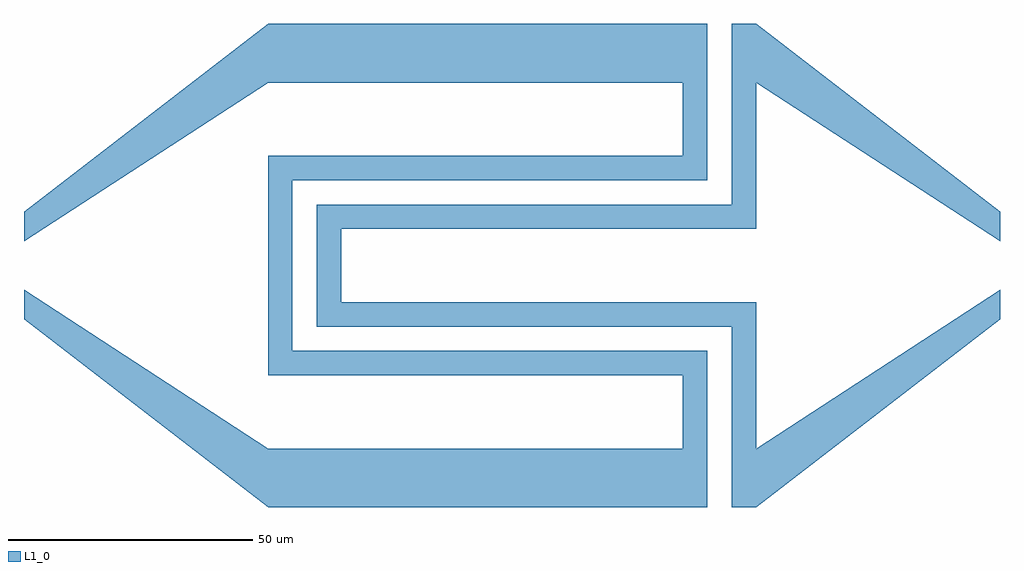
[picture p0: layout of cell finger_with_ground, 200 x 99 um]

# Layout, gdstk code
import gdstk
lib = gdstk.Library(unit=1e-6, precision=1e-09)
def P(c, l, *ps):  # polygons
    for p in ps: c.add(gdstk.Polygon(p, *l))
L1_0 = (1, 0)

finger_with_ground = lib.new_cell('finger_with_ground')
P(finger_with_ground, L1_0, [(0,5),(0,11),(50,49.5),(50,37.5)],
  [(50,-49.5),(0,-11),(0,-5),(50,-37.5)],
  [(200,5),(150,37.5),(150,49.5),(200,11)],
  [(150,-49.5),(150,-37.5),(200,-5),(200,-11)],
  [(50,-49.5),(50,-37.5),(135,-37.5),(135,-22.5),(50,-22.5),(50,22.5),(135,22.5),(135,37.5),(50,37.5),(50,49.5),(140,49.5),(140,17.5),(55,17.5),(55,-17.5),(140,-17.5),(140,-49.5)],
  [(145,-49.5),(145,-12.5),(60,-12.5),(60,12.5),(145,12.5),(145,49.5),(150,49.5),(150,7.5),(65,7.5),(65,-7.5),(150,-7.5),(150,-49.5)])

lib.write_gds('finger_with_ground.gds')
